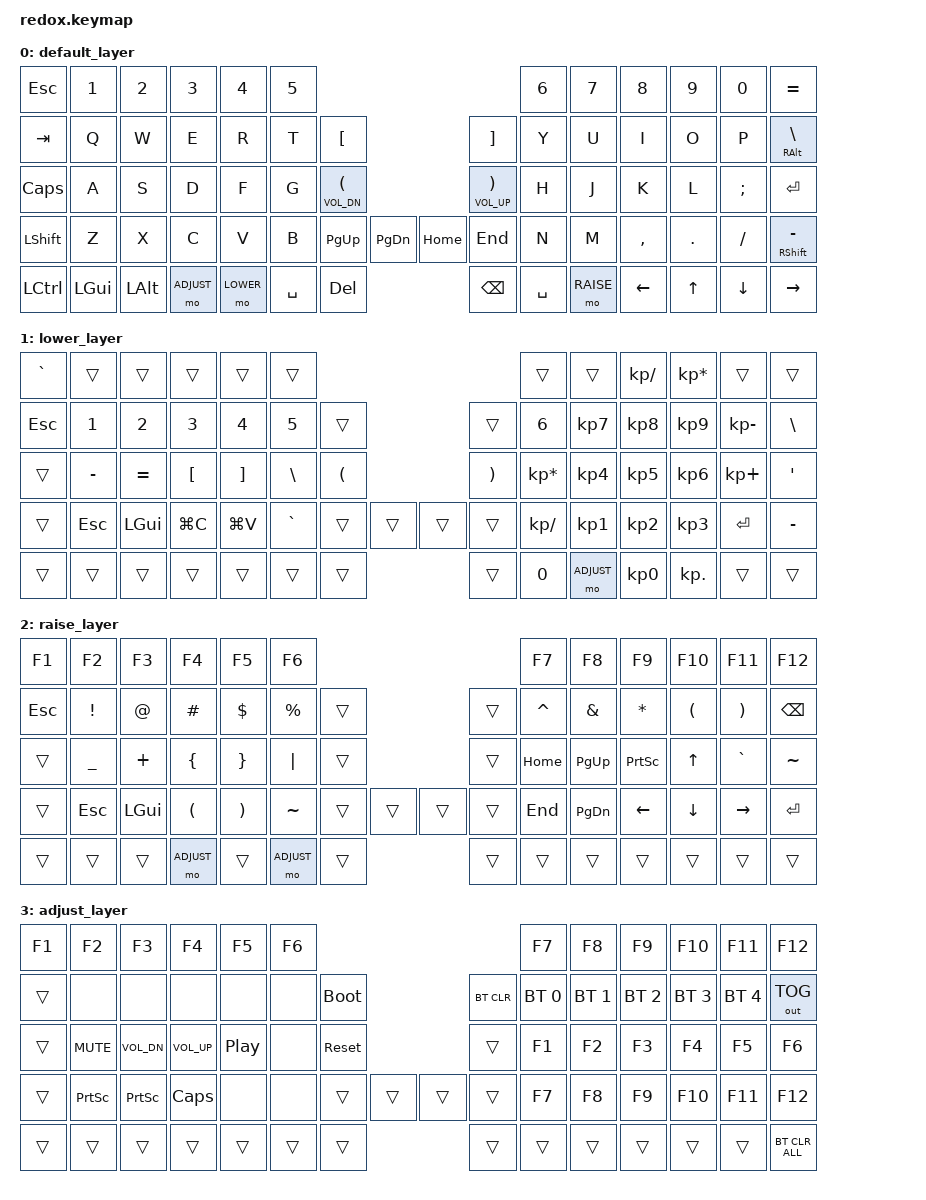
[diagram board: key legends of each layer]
/*
 * Copyright (c) 2021 The ZMK Contributors
 *
 * SPDX-License-Identifier: MIT
 */

#include <behaviors.dtsi>
#include <dt-bindings/zmk/keys.h>
#include <dt-bindings/zmk/bt.h>
#include <dt-bindings/zmk/ext_power.h>
#include <dt-bindings/zmk/outputs.h>

#define DEFAULT 0
#define LOWER   1
#define RAISE   2
#define ADJUST  3

/ {
    keymap {
        compatible =  "zmk,keymap" ;

        default_layer {
// --------------------------------------------------------------------------------------------------------------------------------
// | ESC   |  1  |  2  |   3   |  4  |  5  |                   ---                |  6    |  7    |  8    |  9   | 0  |    =   |
// | TAB   |  Q  |  W  |   E   |  R  |  T  |   (   |           ---        |     |  Y    |  U    |  I    |  O   | P  |     -     |
// | CTRL  |  A  |  S  |   D   |  F  |  G  |   [   |           ---        |  ]    |  H    |  J    |  K    |  L   | ;  |     '     |
// | SHIFT |  Z  |  X  |   C   |  V  |  B  | PG_UP | PG_DOWN | --- | HOME | END   |  N    |  M    |  ,    |  .   | /  | SHFT(RET) |
// | CRTL  | ALT | GUI | ADJST |   LOWER   | SPACE | BKSPACE | --- | DEL  | SPACE |     RAISE     | LEFT  | DOWN | RIGHT |   DOWN   |
            bindings = <
   &kp ESC    &kp N1   &kp N2   &kp N3 &kp N4   &kp N5                                                  &kp N6    &kp N7    &kp N8    &kp N9    &kp N0   &kp EQUAL
   &kp TAB      &kp Q    &kp W    &kp E  &kp R    &kp T  &kp LBKT                             &kp RBKT    &kp Y     &kp U     &kp I     &kp O     &kp P    &mt RALT BSLH
   &kp CAPSLOCK &kp A    &kp S    &kp D  &kp F    &kp G  &mt C_VOL_DN LPAR              &mt C_VOL_UP RPAR &kp H     &kp J     &kp K     &kp L     &kp SEMI &kp RET
   &kp LSHFT    &kp Z    &kp X    &kp C  &kp V    &kp B  &kp PG_UP &kp PG_DN      &kp HOME  &kp END     &kp N     &kp M     &kp COMMA &kp DOT   &kp FSLH   &mt RSHFT MINUS
   &kp LCTRL    &kp LGUI &kp LALT &mo ADJUST  &mo LOWER  &kp SPACE &kp DEL        &kp BSPC &kp SPACE       &mo RAISE        &kp LEFT  &kp UP  &kp DOWN &kp RIGHT
            >;

        };

        lower_layer {
// --------------------------------------------------------------------------------------------------------------------------
// |       |     |     |       |       |     |                   ---              |     |     |      |      |     |       |
// | ESC   |  1  |  2  |   3   |   4   |  5  |       |           ---        |     |  6  |  7  |   8  |  9   |  0  |  DEL  |
// |       |  -  |  =  |   [   |   ]   |  \  |       |           ---        |     |  *  |  4  |   5  |  6   |  +  |   -   |
// |       | ESC | GUI | COPY  | PASTE |     |       |         | --- |      |     |  \  |  1  |   2  |  3   | RET |  RET  |
// |       |     |     |       |             |       |         | --- |      |  0  |   ADJUST  |      |ENTER |     |       |
            bindings = <
   &kp GRAVE  &trans    &trans    &trans    &trans    &trans                                &trans           &trans     &kp KP_DIVIDE &kp KP_MULTIPLY    &trans      &trans
   &kp ESC &kp N1    &kp N2    &kp N3    &kp N4    &kp N5    &trans                 &trans &kp N6            &kp KP_N7  &kp KP_N8    &kp KP_N9    &kp KP_MINUS &kp BSLH
   &trans  &kp MINUS &kp EQUAL &kp LBKT  &kp RBKT  &kp BSLH  &kp LPAR               &kp RPAR &kp KP_MULTIPLY &kp KP_N4  &kp KP_N5    &kp KP_N6    &kp KP_PLUS  &kp SQT
   &trans  &kp ESC   &kp LGUI  &kp LG(C) &kp LG(V) &kp GRAVE &trans   &trans &trans &trans &kp KP_DIVIDE     &kp KP_N1   &kp KP_N2    &kp KP_N3   &kp RET      &kp MINUS
   &trans  &trans    &trans    &trans          &trans        &trans   &trans &trans &kp N0          &mo ADJUST          &kp KP_N0    &kp KP_DOT   &trans       &trans
            >;
        };

        raise_layer {
// ----------------------------------------------------------------------------------------------------------------------------
// |       |     |     |       |       |     |                   ---              |      |      |      |      |       |       |
// | ESC   |  !  |  @  |   #   |  $  |  %  |   (   |           ---        |  )    |  ^   |  &   |  *   |  (   |  )    |  DEL  |
// | CTRL  |  _  |  +  |   {   |  }  | "|" |   [   |           ---        |  ]    | HOME | PGUP | PRSC | UP   |  `    |   ~   |
// | SHIFT | ESC | GUI |   (   |  )  |     | PG_UP | PG_DOWN | --- | HOME | END   | END  | PGDN | LEFT | DOWN | RIGHT |  RET  |
// | CRTL  | ALT | GUI | LOWER |    GUI    | LOWER | SPACE   | --- | DEL  | SPACE |    RAISE    | LEFT | DOWN | UP    | RIGHT |
            bindings = <
   &kp F1  &kp F2    &kp F3   &kp F4   &kp F5   &kp F6                         &kp F7           &kp F8    &kp F9    &kp F10  &kp F11   &kp F12
   &kp ESC &kp EXCL  &kp AT   &kp HASH &kp DLLR &kp PRCNT &trans               &trans &kp CARET &kp AMPS  &kp ASTRK &kp LPAR &kp RPAR  &kp BSPC
   &trans  &kp UNDER &kp PLUS &kp LBRC &kp RBRC &kp PIPE  &trans               &trans &kp HOME  &kp PG_UP &kp PSCRN &kp UP   &kp GRAVE &kp TILDE
   &trans  &kp ESC   &kp LGUI &kp LPAR &kp RPAR &kp TILDE &trans &trans &trans &trans &kp END   &kp PG_DN &kp LEFT  &kp DOWN &kp RIGHT &kp RET
   &trans  &trans    &trans   &mo ADJUST         &trans        &mo ADJUST  &trans &trans &trans        &trans       &trans    &trans   &trans    &trans
            >;
        };

        adjust_layer {
// -----------------------------------------------------------------------------------------
// |  ESC   |  F2   |    F3    |    F4     |     F5     | F6 |                   ---                | F7  | F8  |  F9  |  F10 | F11 | F12        |
// | TAB   |       |          |           |            |    | BOOTL |           ---        |  )    | BT1 | BT2 |  BT3 |  BT4 | BT5 | OUTPUT TGL |
// | CTRL  | MUTE  |  Vol Dn  |  Vol Up   | Play/Pause |    | RESET |           ---        |  ]    | F1  | F2  |  F3  |  F4  | F5  | F6         |
// | SHIFT | PSCRN |  PSCRN   |   CAPS    |            |    | PG_UP | PG_DOWN | --- | HOME | END   | F7  | F8  |  F9  |  F10 | F11 | F12        |
// | CRTL  | ALT   |  GUI     |   LOWER   |      GUI        | LOWER | SPACE   | --- | DEL  | SPACE |   RAISE   | LEFT | DOWN | UP  |   BT_CLR_ALL    |
                        bindings = <
   &kp F1  &kp F2     &kp F3       &kp F4       &kp F5           &kp F6                                 &kp F7       &kp F8       &kp F9       &kp F10      &kp F11       &kp F12
   &trans     &none      &none        &none        &none            &none  &bootloader          &bt BT_CLR &bt BT_SEL 0 &bt BT_SEL 1 &bt BT_SEL 2 &bt BT_SEL 3 &bt BT_SEL 4  &out OUT_TOG
   &trans     &kp K_MUTE &kp C_VOL_DN &kp C_VOL_UP &kp C_PLAY_PAUSE &none  &sys_reset               &trans     &kp F1       &kp F2       &kp F3       &kp F4       &kp F5        &kp F6
   &trans     &kp PSCRN  &kp PSCRN    &kp CLCK     &none            &none  &trans &trans &trans &trans     &kp F7       &kp F8       &kp F9       &kp F10      &kp F11       &kp F12
   &trans     &trans     &trans       &trans              &trans           &trans &trans &trans &trans          &trans           &trans       &trans       &trans        &bt BT_CLR_ALL
            >;
        };
    };
};
